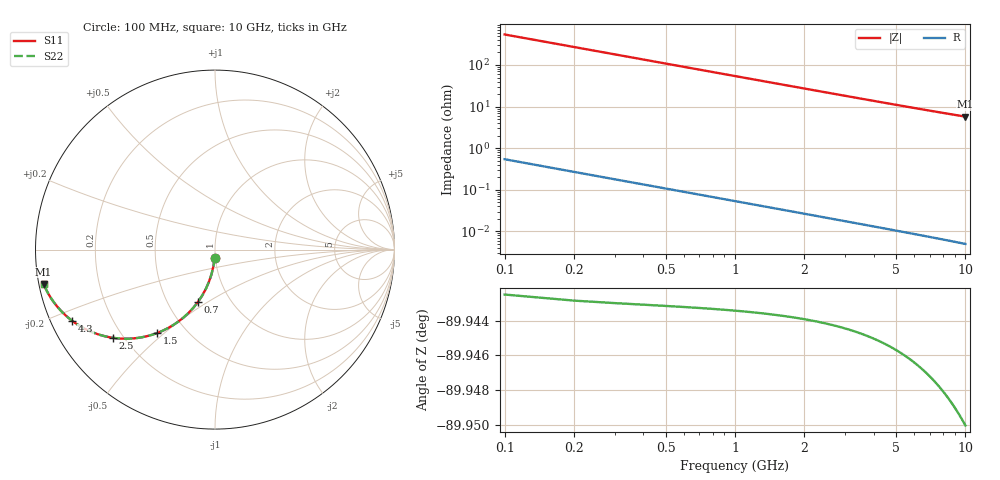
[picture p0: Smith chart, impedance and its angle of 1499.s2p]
# Hz S RI R 50.00
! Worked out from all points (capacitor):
!   100 points, 100 MHz to 10 GHz, reference 50 ohm
!   read as one part in shunt: C = 2.94 pF near 100 MHz
!   lowest |Z| = 5.75 ohm at 10 GHz (marker M1)
!   S11 on the Smith chart (normalised r, x): 100 MHz: 0.99, -0.09; 700 MHz: 0.71, -0.45; 1.5 GHz: 0.35, -0.47; 2.5 GHz: 0.16, -0.36; 4.3 GHz: 0.06, -0.23; 10 GHz: 0.01, -0.10
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1e8  -0.00215 -0.0459  0.9978 -0.0461  0.9978 -0.0461  -0.00215 -0.0459
2e8  -0.0085 -0.0912  0.9915 -0.0917  0.9915 -0.0917  -0.0085 -0.0912
3e8  -0.0189 -0.1353  0.9811 -0.1361  0.9811 -0.1361  -0.0189 -0.1353
4e8  -0.033 -0.1778  0.9669 -0.1788  0.9669 -0.1788  -0.033 -0.1778
5e8  -0.0506 -0.2181  0.9493 -0.2194  0.9493 -0.2194  -0.0506 -0.2181
6e8  -0.0713 -0.256  0.9287 -0.2576  0.9287 -0.2576  -0.0713 -0.256
7e8  -0.0945 -0.2911  0.9055 -0.293  0.9055 -0.293  -0.0945 -0.2911
9e8  -0.147 -0.3524  0.853 -0.3548  0.853 -0.3548  -0.147 -0.3524
1.1e9  -0.2045 -0.4014  0.7954 -0.4043  0.7954 -0.4043  -0.2045 -0.4014
1.3e9  -0.264 -0.4386  0.7359 -0.4421  0.7359 -0.4421  -0.264 -0.4386
1.5e9  -0.3231 -0.4651  0.6769 -0.4692  0.6769 -0.4692  -0.3231 -0.4651
1.8e9  -0.407 -0.4884  0.5929 -0.4932  0.5929 -0.4932  -0.407 -0.4884
2.1e9  -0.4827 -0.4964  0.5172 -0.502  0.5172 -0.502  -0.4827 -0.4964
2.5e9  -0.5691 -0.4913  0.4308 -0.4981  0.4308 -0.4981  -0.5691 -0.4913
2.9e9  -0.6396 -0.4756  0.3603 -0.4835  0.3603 -0.4835  -0.6396 -0.4756
3.4e9  -0.709 -0.449  0.2909 -0.4583  0.2909 -0.4583  -0.709 -0.449
3.8e9  -0.7526 -0.4258  0.2473 -0.4362  0.2473 -0.4362  -0.7526 -0.4258
4.3e9  -0.7956 -0.3968  0.2043 -0.4086  0.2043 -0.4086  -0.7956 -0.3968
5.1e9  -0.8455 -0.3538  0.1544 -0.3679  0.1544 -0.3679  -0.8455 -0.3538
6.7e9  -0.9044 -0.284  0.0954 -0.3028  0.0954 -0.3028  -0.9044 -0.284
8.4e9  -0.9372 -0.2299  0.0625 -0.2537  0.0625 -0.2537  -0.9372 -0.2299
1e10  -0.9551 -0.1917  0.0444 -0.2204  0.0444 -0.2204  -0.9551 -0.1917
